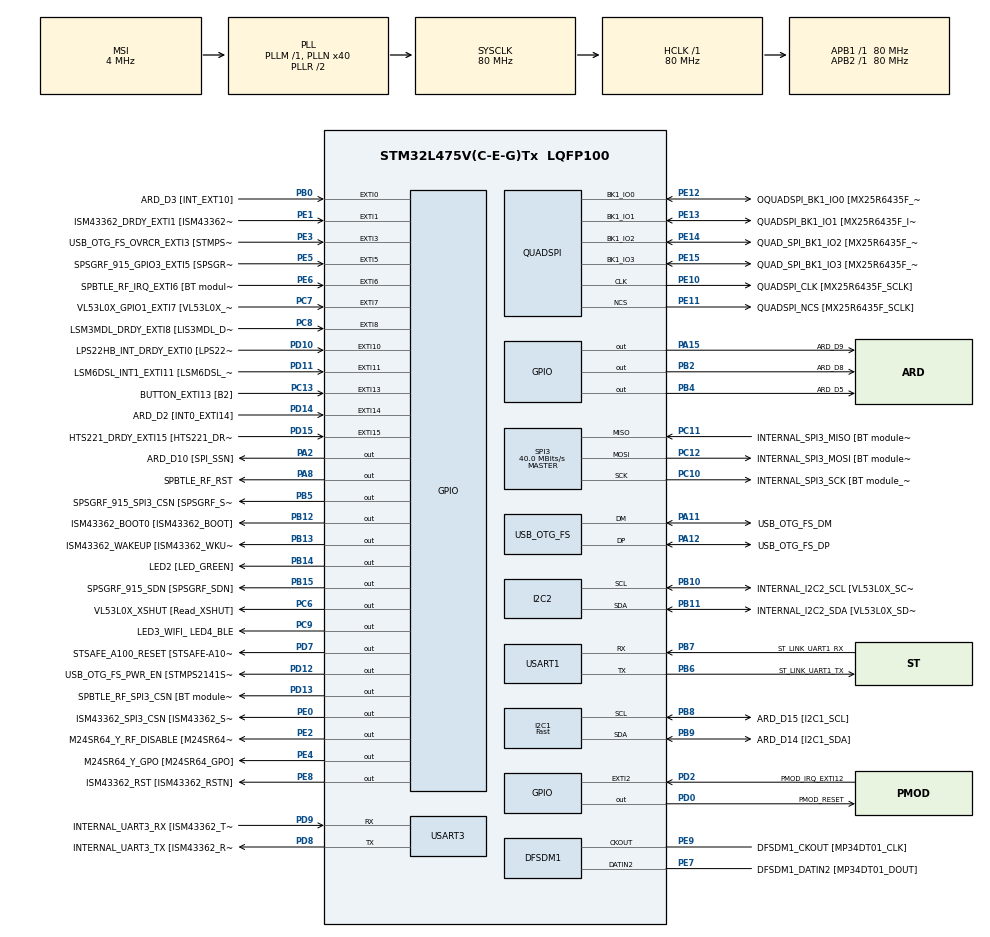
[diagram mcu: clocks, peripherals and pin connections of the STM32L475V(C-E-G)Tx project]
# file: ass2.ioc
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I2C1.CustomTiming=Enabled
I2C1.I2C_Speed_Mode=I2C_Fast
I2C1.Timing=0x00F12981
I2C2.Timing=0x10D19CE4
Mcu.Family=STM32L4
Mcu.Name=STM32L475V(C-E-G)Tx
Mcu.Package=LQFP100
NVIC.EXTI15_10_IRQn=true\:0\:0\:false\:false\:true\:true\:true\:true
NVIC.EXTI9_5_IRQn=true\:0\:0\:false\:false\:true\:true\:true\:true
NVIC.PriorityGroup=NVIC_PRIORITYGROUP_4
PA0.GPIO_Label=ARD_D1 [UART4_TX]
PA0.Signal=UART4_TX
PA1.GPIO_Label=ARD_D0 [UART4_RX]
PA1.Signal=UART4_RX
PA10.GPIO_Label=USB_OTG_FS_ID
PA10.Signal=USB_OTG_FS_ID
PA11.GPIO_Label=USB_OTG_FS_DM
PA11.Mode=Device_Only
PA11.Signal=USB_OTG_FS_DM
PA12.GPIO_Label=USB_OTG_FS_DP
PA12.Mode=Device_Only
PA12.Signal=USB_OTG_FS_DP
PA13\ (JTMS-SWDIO).GPIO_Label=SYS_JTMS_SWDIO
PA13\ (JTMS-SWDIO).Mode=Serial_Wire
PA13\ (JTMS-SWDIO).Signal=SYS_JTMS-SWDIO
PA14\ (JTCK-SWCLK).GPIO_Label=SYS_JTCK_SWCLK
PA14\ (JTCK-SWCLK).Mode=Serial_Wire
PA14\ (JTCK-SWCLK).Signal=SYS_JTCK-SWCLK
PA15\ (JTDI).GPIO_Label=ARD_D9
PA15\ (JTDI).Signal=GPIO_Output
PA2.GPIO_Label=ARD_D10 [SPI_SSN]
PA2.Signal=GPIO_Output
PA3.GPIO_Label=ARD_D4
PA3.Signal=S_TIM2_CH4
PA4.GPIO_Label=ARD_D7
PA4.Signal=ADCx_IN9
PA5.GPIO_Label=ARD_D13 [SPI1_SCK]
PA5.Signal=SPI1_SCK
PA6.GPIO_Label=ARD_D12 [SPI1_MISO]
PA6.Signal=SPI1_MISO
PA7.GPIO_Label=ARD_D11 [SPI1_MOSI]
PA7.Signal=SPI1_MOSI
PA8.GPIO_Label=SPBTLE_RF_RST
PA8.Signal=GPIO_Output
PA9.GPIO_Label=USB_OTG_FS_VBUS [STMPS2141STR_OUT]
PA9.Signal=USB_OTG_FS_VBUS
PB0.GPIO_Label=ARD_D3 [INT_EXT10]
PB0.Signal=GPXTI0
PB1.GPIO_Label=ARD_D6 [ADC1_IN6]
PB1.Signal=ADCx_IN16
PB10.GPIO_Label=INTERNAL_I2C2_SCL [VL53L0X_SCL]
PB10.GPIO_Pu=GPIO_PULLUP
PB10.Mode=I2C
PB10.Signal=I2C2_SCL
PB11.GPIO_Label=INTERNAL_I2C2_SDA [VL53L0X_SDA]
PB11.GPIO_Pu=GPIO_PULLUP
PB11.Mode=I2C
PB11.Signal=I2C2_SDA
PB12.GPIO_Label=ISM43362_BOOT0 [ISM43362_BOOT]
PB12.Signal=GPIO_Output
PB13.GPIO_Label=ISM43362_WAKEUP [ISM43362_WKUP]
PB13.Signal=GPIO_Output
PB14.GPIO_Label=LED2 [LED_GREEN]
PB14.Signal=GPIO_Output
PB15.GPIO_Label=SPSGRF_915_SDN [SPSGRF_SDN]
PB15.Signal=GPIO_Output
PB2.GPIO_Label=ARD_D8
PB2.Signal=GPIO_Output
PB3\ (JTDO-TRACESWO).GPIO_Label=SYS_JTD0_SWO
PB3\ (JTDO-TRACESWO).Signal=SYS_JTDO-SWO
PB4\ (NJTRST).GPIO_Label=ARD_D5
PB4\ (NJTRST).Signal=GPIO_Output
PB5.GPIO_Label=SPSGRF_915_SPI3_CSN [SPSGRF_SPI_CS]
PB5.PinState=GPIO_PIN_SET
PB5.Signal=GPIO_Output
PB6.GPIO_Label=ST_LINK_UART1_TX
PB6.Mode=Asynchronous
PB6.Signal=USART1_TX
PB7.GPIO_Label=ST_LINK_UART1_RX
PB7.Mode=Asynchronous
PB7.Signal=USART1_RX
PB8.GPIO_Label=ARD_D15 [I2C1_SCL]
PB8.Mode=I2C
PB8.Signal=I2C1_SCL
PB9.GPIO_Label=ARD_D14 [I2C1_SDA]
PB9.Mode=I2C
PB9.Signal=I2C1_SDA
PC0.GPIO_Label=ARD_A5 [ADC]
PC0.Signal=ADCx_IN1
PC1.GPIO_Label=ARD_A4 [ADC]
PC1.Signal=ADCx_IN2
PC10.GPIO_Label=INTERNAL_SPI3_SCK [BT module_SPI_SCLK] [ISM43362_SCK]
PC10.Mode=Full_Duplex_Master
PC10.Signal=SPI3_SCK
PC11.GPIO_Label=INTERNAL_SPI3_MISO [BT module_SPI_MISO] [ISM43362_MISO]
PC11.Mode=Full_Duplex_Master
PC11.Signal=SPI3_MISO
PC12.GPIO_Label=INTERNAL_SPI3_MOSI [BT module_SPI_MOSI] [ISM43362_MOSI]
PC12.Mode=Full_Duplex_Master
PC12.Signal=SPI3_MOSI
PC13.GPIO_Label=BUTTON_EXTI13 [B2]
PC13.GPIO_ModeDefaultEXTI=GPIO_MODE_IT_FALLING
PC13.Signal=GPXTI13
PC14-OSC32_IN\ (PC14).Mode=LSE-External-Oscillator
PC14-OSC32_IN\ (PC14).Signal=RCC_OSC32_IN
PC15-OSC32_OUT\ (PC15).Mode=LSE-External-Oscillator
PC15-OSC32_OUT\ (PC15).Signal=RCC_OSC32_OUT
PC2.GPIO_Label=ARD_A3 [ADC]
PC2.Signal=ADCx_IN3
PC3.GPIO_Label=ARD_A2 [ADC]
PC3.Signal=ADCx_IN4
PC4.GPIO_Label=ARD_A1 [ADC]
PC4.Signal=ADCx_IN13
PC5.GPIO_Label=ARD_A0 [ADC]
PC5.Signal=ADCx_IN14
PC6.GPIO_Label=VL53L0X_XSHUT [Read_XSHUT]
PC6.Signal=GPIO_Output
PC7.GPIO_Label=VL53L0X_GPIO1_EXTI7 [VL53L0X_GPIO1]
PC7.Signal=GPXTI7
PC8.GPIO_Label=LSM3MDL_DRDY_EXTI8 [LIS3MDL_DRDY]
PC8.Signal=GPXTI8
PC9.GPIO_Label=LED3_WIFI_ LED4_BLE
PC9.Signal=GPIO_Output
PD0.GPIO_Label=PMOD_RESET
PD0.Signal=GPIO_Output
PD1.GPIO_Label=PMOD_SPI2_SCK
PD1.Signal=SPI2_SCK
PD10.GPIO_Label=LPS22HB_INT_DRDY_EXTI0 [LPS22HB_INT_DRDY] 
PD10.Signal=GPXTI10
PD11.GPIO_Label=LSM6DSL_INT1_EXTI11 [LSM6DSL_INT1]
PD11.Signal=GPXTI11
PD12.GPIO_Label=USB_OTG_FS_PWR_EN [STMPS2141STR_EN]
PD12.Signal=GPIO_Output
PD13.GPIO_Label=SPBTLE_RF_SPI3_CSN [BT module_SPI_CS]
PD13.PinState=GPIO_PIN_SET
PD13.Signal=GPIO_Output
PD14.GPIO_Label=ARD_D2 [INT0_EXTI14]
PD14.Signal=GPXTI14
PD15.GPIO_Label=HTS221_DRDY_EXTI15 [HTS221_DRDY]
PD15.Signal=GPXTI15
PD2.GPIO_Label=PMOD_IRQ_EXTI12
PD2.Signal=GPXTI2
PD3.GPIO_Label=PMOD_UART2_CTS
PD3.Signal=USART2_CTS
PD4.GPIO_Label=PMOD_UART2_RTS
PD4.Signal=USART2_RTS
PD5.GPIO_Label=PMOD_UART2_TX
PD5.Signal=USART2_TX
PD6.GPIO_Label=PMOD_UART2_RX
PD6.Signal=USART2_RX
PD7.GPIO_Label=STSAFE_A100_RESET [STSAFE-A100_RESET]
PD7.Signal=GPIO_Output
PD8.GPIO_Label=INTERNAL_UART3_TX [ISM43362_RX]
PD8.Mode=Asynchronous
PD8.Signal=USART3_TX
PD9.GPIO_Label=INTERNAL_UART3_RX [ISM43362_TX]
PD9.Mode=Asynchronous
PD9.Signal=USART3_RX
PE0.GPIO_Label=ISM43362_SPI3_CSN [ISM43362_SSN]
PE0.PinState=GPIO_PIN_SET
PE0.Signal=GPIO_Output
PE1.GPIO_Label=ISM43362_DRDY_EXTI1 [ISM43362_DATARDY]
PE1.Signal=GPXTI1
PE10.GPIO_Label=QUADSPI_CLK [MX25R6435F_SCLK]
PE10.Mode=Single Bank
PE10.Signal=QUADSPI_CLK
PE11.GPIO_Label=QUADSPI_NCS [MX25R6435F_SCLK]
PE11.Mode=Single Bank
PE11.Signal=QUADSPI_NCS
PE12.GPIO_Label=OQUADSPI_BK1_IO0 [MX25R6435F_IO0]
PE12.Mode=Single Bank
PE12.Signal=QUADSPI_BK1_IO0
PE13.GPIO_Label=QUADSPI_BK1_IO1 [MX25R6435F_IO1]
PE13.Mode=Single Bank
PE13.Signal=QUADSPI_BK1_IO1
PE14.GPIO_Label=QUAD_SPI_BK1_IO2 [MX25R6435F_IO2]
PE14.Mode=Single Bank
PE14.Signal=QUADSPI_BK1_IO2
PE15.GPIO_Label=QUAD_SPI_BK1_IO3 [MX25R6435F_IO3]
PE15.Mode=Single Bank
PE15.Signal=QUADSPI_BK1_IO3
PE2.GPIO_Label=M24SR64_Y_RF_DISABLE [M24SR64_RFDIS]
PE2.Signal=GPIO_Output
PE3.GPIO_Label=USB_OTG_FS_OVRCR_EXTI3 [STMPS2141STR_FAULT]
PE3.Signal=GPXTI3
PE4.GPIO_Label=M24SR64_Y_GPO [M24SR64_GPO]
PE4.Signal=GPIO_Output
PE5.GPIO_Label=SPSGRF_915_GPIO3_EXTI5 [SPSGRF_GPIO_3]
PE5.Signal=GPXTI5
PE6.GPIO_Label=SPBTLE_RF_IRQ_EXTI6 [BT module_SPI_IRQ]
PE6.Signal=GPXTI6
PE7.GPIO_Label=DFSDM1_DATIN2 [MP34DT01_DOUT]
PE7.Signal=S_DATAIN2DFSDM1
PE8.GPIO_Label=ISM43362_RST [ISM43362_RSTN]
PE8.Signal=GPIO_Output
PE9.GPIO_Label=DFSDM1_CKOUT [MP34DT01_CLK]
PE9.Signal=S_CKOUTDFSDM1
ProjectManager.HeapSize=0x200
ProjectManager.StackSize=0x400
ProjectManager.TargetToolchain=STM32CubeIDE
QUADSPI.ClockPrescaler=2
QUADSPI.FifoThreshold=4
QUADSPI.FlashSize=23
QUADSPI.SampleShifting=QSPI_SAMPLE_SHIFTING_HALFCYCLE
RCC.ADCFreq_Value=48000000
RCC.AHBFreq_Value=80000000
RCC.APB1Freq_Value=80000000
RCC.APB1TimFreq_Value=80000000
RCC.APB2Freq_Value=80000000
RCC.APB2TimFreq_Value=80000000
RCC.CortexFreq_Value=80000000
RCC.HCLKFreq_Value=80000000
RCC.HSE_VALUE=8000000
RCC.HSI_VALUE=16000000
RCC.MSI_VALUE=4000000
RCC.PLLN=40
RCC.PLLSAI1N=24
RCC.SYSCLKFreq_VALUE=80000000
RCC.SYSCLKSource=RCC_SYSCLKSOURCE_PLLCLK
RCC.USBFreq_Value=48000000
RCC.VCOOutputFreq_Value=160000000
SH.ADCx_IN1.0=ADC1_IN1
SH.ADCx_IN13.0=ADC1_IN13
SH.ADCx_IN14.0=ADC1_IN14
SH.ADCx_IN16.0=ADC1_IN16
SH.ADCx_IN2.0=ADC1_IN2
SH.ADCx_IN3.0=ADC1_IN3
SH.ADCx_IN4.0=ADC1_IN4
SH.ADCx_IN9.0=ADC1_IN9
SH.S_CKOUTDFSDM1.0=DFSDM1_CKOUT,CKOUT
SH.S_CKOUTDFSDM1.1=DFSDM1_CKOUT,PDM_SPI_Input_from_ch12_and_Internal_Clock
SH.S_DATAIN2DFSDM1.0=DFSDM1_DATIN2,PDM_SPI_Input_from_ch12_and_Internal_Clock
SH.S_TIM2_CH4.0=TIM2_CH4
SPI3.CalculateBaudRate=40.0 MBits/s
SPI3.Direction=SPI_DIRECTION_2LINES
SPI3.Mode=SPI_MODE_MASTER
SPI3.VirtualType=VM_MASTER
USART1.VirtualMode-Asynchronous=VM_ASYNC
USART3.VirtualMode-Asynchronous=VM_ASYNC
USB_OTG_FS.VirtualMode=Device_Only
board=B-L475E-IOT01A1

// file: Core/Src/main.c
/* USER CODE BEGIN Header */
/**
  ******************************************************************************
  * @file           : main.c
  * @brief          : Main program body
  ******************************************************************************
  * @attention
  *
  * Copyright (c) 2025 STMicroelectronics.
  * All rights reserved.
  *
  * This software is licensed under terms that can be found in the LICENSE file
  * in the root directory of this software component.
  * If no LICENSE file comes with this software, it is provided AS-IS.
  *
  ******************************************************************************
  */
/* USER CODE END Header */
#include "main.h"
#include "wifi.h"
#include "stdio.h"
#include <string.h>
#include <math.h>
#include "stm32l4xx_hal_gpio.h"
#include "stm32l4xx_hal_exti.h"
#include "../../Drivers/BSP/B-L475E-IOT01/stm32l475e_iot01.h"
#include "../../Drivers/BSP/B-L475E-IOT01/stm32l475e_iot01_tsensor.h"
#include "../../Drivers/BSP/B-L475E-IOT01/stm32l475e_iot01_hsensor.h"
#include "../../Drivers/BSP/B-L475E-IOT01/stm32l475e_iot01_psensor.h"
#include "../../Drivers/BSP/B-L475E-IOT01/stm32l475e_iot01_gyro.h"
#include "../../Drivers/BSP/B-L475E-IOT01/stm32l475e_iot01_magneto.h"
#include "../../Drivers/BSP/B-L475E-IOT01/stm32l475e_iot01_accelero.h"
/* USER CODE BEGIN Includes */
#include "ssd1306.h"
#include "ssd1306_tests.h"
/* USER CODE END Includes */

/* USER CODE BEGIN PD */
extern void initialise_monitor_handles(void); // for printf semi-hosting support

#define MAX_LENGTH 1024
#define WIFI_READ_TIMEOUT 10000
#define WIFI_WRITE_TIMEOUT 10000

const char* WiFi_SSID = "waao"; // Replace with your WiFi SSID
const char* WiFi_password = "12345678"; // Replace with your WiFi password
const WIFI_Ecn_t WiFi_security = WIFI_ECN_WPA2_PSK;
const uint16_t SOURCE_PORT = 1234;
uint8_t ipaddr[4] = {192, 168, 43, 1};

const char* SERVER_NAME = "api.seniverse.com";
const uint16_t DEST_PORT = 80;

SPI_HandleTypeDef hspi3;

#define TOTAL_BUFFER_SIZE 2048
uint8_t totalResp[TOTAL_BUFFER_SIZE];
uint16_t totalLen = 0;
uint8_t tempBuffer[256]; // 每次接收的临时缓冲区
uint16_t len;
WIFI_Status_t ret;
/* USER CODE END PD */

DFSDM_Channel_HandleTypeDef hdfsdm1_channel1;

I2C_HandleTypeDef hi2c1;
I2C_HandleTypeDef hi2c2;

QSPI_HandleTypeDef hqspi;

SPI_HandleTypeDef hspi3;

UART_HandleTypeDef huart1;
UART_HandleTypeDef huart3;

PCD_HandleTypeDef hpcd_USB_OTG_FS;

void SystemClock_Config(void);
static void MX_GPIO_Init(void);
static void MX_DFSDM1_Init(void);
static void MX_I2C2_Init(void);
static void MX_QUADSPI_Init(void);
static void MX_SPI3_Init(void);
static void MX_USART1_UART_Init(void);
static void MX_USART3_UART_Init(void);
static void MX_USB_OTG_FS_PCD_Init(void);
static void MX_I2C1_Init(void);

/* USER CODE BEGIN 0 */
static void UART1_Init(void);
UART_HandleTypeDef huart1;
/* USER CODE END 0 */
#define TEMP_THRESHOLD 37.5f
#define ACC_THRESHOLD 9.0f
#define GYRO_THRESHOLD 5.0f
#define MAG_THRESHOLD 3000000.0f
float baseline_gyro_norm = 0.0f;
float baseline_mag_norm = 0.0f;

volatile uint8_t emergency_mode = 0;
volatile uint8_t fever_detected = 0, fall_detected = 0, abnormal_detected = 0, mag_detected = 0;
volatile uint32_t last_emergency = 0;
volatile uint32_t last_led_toggle = 0;
volatile uint32_t last_button_press = 0;
volatile uint8_t count_button = 0;

int main(void)
{

  /* USER CODE BEGIN 1 */
  initialise_monitor_handles();
  /* USER CODE END 1 */

  /* MCU Configuration--------------------------------------------------------*/

  /* Reset of all peripherals, Initializes the Flash interface and the Systick. */
  HAL_Init();
  UART1_Init();
  int seconds_count = 0;

  /* Configure the system clock */
  SystemClock_Config();

  /* Initialize all configured peripherals */
  MX_GPIO_Init();
  MX_DFSDM1_Init();
  MX_I2C2_Init();
  MX_QUADSPI_Init();
  MX_SPI3_Init();

  MX_USART1_UART_Init();
  MX_USART3_UART_Init();
  MX_USB_OTG_FS_PCD_Init();
  MX_I2C1_Init();
  /* USER CODE BEGIN 2 */
  ssd1306_Init();
  /* USER CODE END 2 */

  BSP_LED_Init(LED2);

     BSP_TSENSOR_Init();
     BSP_ACCELERO_Init();
     BSP_GYRO_Init();
     BSP_MAGNETO_Init();
     BSP_HSENSOR_Init();
     BSP_PSENSOR_Init();
     //PC13用来EXTI interrupt
     __HAL_RCC_GPIOC_CLK_ENABLE();
     GPIO_InitTypeDef GPIO_InitStruct = {0};
     GPIO_InitStruct.Pin = GPIO_PIN_13;
     GPIO_InitStruct.Mode = GPIO_MODE_IT_FALLING;
     GPIO_InitStruct.Pull = GPIO_NOPULL;
     HAL_GPIO_Init(GPIOC, &GPIO_InitStruct);
     HAL_NVIC_SetPriority(EXTI15_10_IRQn, 0, 0);
     //设置EXTI interrupt优先级，只要按下按钮就会触发HAL_GPIO_EXTI_Callback()
     HAL_NVIC_EnableIRQ(EXTI15_10_IRQn);
     //PB14控制LED2输出
     __HAL_RCC_GPIOB_CLK_ENABLE();
     GPIO_InitStruct.Pin = GPIO_PIN_14;
     GPIO_InitStruct.Mode = GPIO_MODE_OUTPUT_PP;
     GPIO_InitStruct.Pull = GPIO_NOPULL;
     GPIO_InitStruct.Speed = GPIO_SPEED_FREQ_VERY_HIGH;
     HAL_GPIO_Init(GPIOB, &GPIO_InitStruct);

     __HAL_RCC_GPIOD_CLK_ENABLE();
     GPIO_InitStruct.Pin = GPIO_PIN_11;
     GPIO_InitStruct.Mode = GPIO_MODE_IT_RISING;
     GPIO_InitStruct.Pull = GPIO_NOPULL;
     HAL_GPIO_Init(GPIOD, &GPIO_InitStruct);
     __HAL_GPIO_EXTI_CLEAR_IT(GPIO_PIN_11);
     HAL_NVIC_SetPriority(EXTI15_10_IRQn, 2, 0);  // EXTI for pins 10 to 15
     HAL_NVIC_EnableIRQ(EXTI15_10_IRQn);

     uint32_t previousTick = HAL_GetTick();
     uint32_t previousWReq = HAL_GetTick();
     static uint16_t counter=0;

     SENSOR_IO_Write(0xD4, 0x10, 0x20);
     SENSOR_IO_Write(0xD4, 0x19, 0x0C);
     SENSOR_IO_Write(0xD4, 0x5E, 0x02);
     SENSOR_IO_Write(0xD4, 0x58, 0x01);

     uint8_t md1_cfg;
  	 uint8_t func_src1;
     md1_cfg = SENSOR_IO_Read(0xD4, 0x5E);
     printf("MD1_CFG = 0x%02X\n", md1_cfg);

       char uartBuffer[256];
       char city[32];
       char temperature[8];
       char weather[32];
       char last_update[64];
       char time[6];

       uint8_t req[MAX_LENGTH];
       //uint8_t resp[MAX_LENGTH];
       uint16_t Datalen;

       WIFI_Status_t WiFi_Stat;
           uint32_t retryStart;

           while (1) {
               WiFi_Stat = WIFI_Init();
               HAL_UART_Transmit(&huart1, (uint8_t*)"Initializing WiFi...\r\n",
                                 strlen("Initializing WiFi...\r\n"), HAL_MAX_DELAY);

               if (WiFi_Stat == WIFI_STATUS_OK) break;

               HAL_UART_Transmit(&huart1, (uint8_t*)"WiFi Init Failed. Retrying...\r\n",
                                 strlen("WiFi Init Failed. Retrying...\r\n"), HAL_MAX_DELAY);

               // 记录当前时间
               retryStart = HAL_GetTick();
               while (HAL_GetTick() - retryStart < 2000);
           }

           while (1) {
               WiFi_Stat = WIFI_Connect(WiFi_SSID, WiFi_password, WiFi_security);
               if (WiFi_Stat == WIFI_STATUS_OK) break;

               HAL_UART_Transmit(&huart1, (uint8_t*)"WiFi Connect Failed. Retrying...\r\n",
                                 strlen("WiFi Connect Failed. Retrying...\r\n"), HAL_MAX_DELAY);

               retryStart = HAL_GetTick();
               while (HAL_GetTick() - retryStart < 2000);
           }

           HAL_UART_Transmit(&huart1, (uint8_t*)"Connected to WiFi. Resolving host...\r\n",
                             strlen("Connected to WiFi. Resolving host...\r\n"), HAL_MAX_DELAY);

           while (1) {
               WiFi_Stat = WIFI_GetHostAddress(SERVER_NAME, ipaddr);
               if (WiFi_Stat == WIFI_STATUS_OK) break;

               HAL_UART_Transmit(&huart1, (uint8_t*)"Host Resolve Failed. Retrying...\r\n",
                                 strlen("Host Resolve Failed. Retrying...\r\n"), HAL_MAX_DELAY);

               retryStart = HAL_GetTick();
               while (HAL_GetTick() - retryStart < 2000);
           }

           while (1) {
               WiFi_Stat = WIFI_OpenClientConnection(1, WIFI_TCP_PROTOCOL, "conn", ipaddr, DEST_PORT, SOURCE_PORT);
               if (WiFi_Stat == WIFI_STATUS_OK) break;

               HAL_UART_Transmit(&huart1, (uint8_t*)"Open Connection Failed. Retrying...\r\n",
                                 strlen("Open Connection Failed. Retrying...\r\n"), HAL_MAX_DELAY);

               retryStart = HAL_GetTick();
               while (HAL_GetTick() - retryStart < 2000);
           }

           HAL_UART_Transmit(&huart1, (uint8_t*)"WiFi Connected Successfully!\r\n",
                             strlen("WiFi Connected Successfully!\r\n"), HAL_MAX_DELAY);

           char rxBuffer[80];
           uint8_t rxChar;
           uint16_t index = 0;
           memset(rxBuffer, 0, 80);
           HAL_UART_Transmit(&huart1, (uint8_t*)"Key in city\r\n",
                                        strlen("Key in city\r\n"), HAL_MAX_DELAY);

           while (1) {
           HAL_UART_Receive(&huart1, &rxChar, 1, HAL_MAX_DELAY);
           if (rxChar == '\r' || rxChar == '\n')
           {
               HAL_UART_Transmit(&huart1, (uint8_t *)"Received: ", 6, HAL_MAX_DELAY);
               HAL_UART_Transmit(&huart1, rxBuffer, strlen((char *)rxBuffer), HAL_MAX_DELAY);
               HAL_UART_Transmit(&huart1, (uint8_t *)"\r\n", 2, HAL_MAX_DELAY);
               break;
           }
           if (index < 79)
           {
        	   rxBuffer[index++] = rxChar;
           }
           }
           rxBuffer[index] = '\0';

		   const char* reqUserKey = "STEK6421IRBVnzBZ_";
		   const char* reqLocation = rxBuffer;

		   printf("city: %s\n", reqLocation);

		   const char* reqUnit = "c";

		   char reqWeather[256];
		   sprintf(reqWeather, "/v3/weather/now.json?key=%s&location=%s&language=en&unit=%s",
				   reqUserKey, reqLocation, reqUnit);

		   sprintf((char*)req, "GET %s HTTP/1.1\r\nHost: %s\r\nConnection: close\r\n\r\n",
				   reqWeather, SERVER_NAME);
		   HAL_UART_Transmit(&huart1, (uint8_t*)"Initialization Complete!\r\n Requesting...\r\n",
		                     strlen("Initialization Complete!\r\n Requesting...\r\n"), HAL_MAX_DELAY);

		   WiFi_Stat = WIFI_SendData(1, req, (uint16_t)strlen((char*)req), &Datalen, WIFI_WRITE_TIMEOUT);

		   while ((ret = WIFI_ReceiveData(1, tempBuffer, sizeof(tempBuffer) - 1, &len, WIFI_READ_TIMEOUT)) == WIFI_STATUS_OK && len > 0) {
			   if (totalLen + len >= TOTAL_BUFFER_SIZE - 1) {
				   HAL_UART_Transmit(&huart1, (uint8_t*)"Buffer too small",
				   		                     strlen("Buffer too small"), HAL_MAX_DELAY);
				   break;
			   }
			   memcpy(totalResp + totalLen, tempBuffer, len);
			   totalLen += len;
		   }

		   totalResp[totalLen] = '\0';

		   extract_value(totalResp, "name", city, sizeof(city));
		   extract_value(totalResp, "temperature", temperature, sizeof(temperature));
		   extract_value(totalResp, "text", weather, sizeof(weather));
		   extract_value(totalResp, "last_update", last_update, sizeof(last_update));
		   strncpy(time, last_update + 11, 5);
		   time[5] = '\0';

/////////////////////////////////////////////////////////////////////////////////////////////////////////////////////
		   printf("%s",totalResp);
		          printf("city: %s\n", city);
		          printf("temperature: %s°C\n", temperature);
		          printf("weather: %s\n", weather);
/////////////////////////////////////////////////////////////////////////////////////////////////////////////////////

		   snprintf(uartBuffer, sizeof(uartBuffer),
					"City: %s\r\nTemperature: %s°C\r\nWeather: %s\r\nTime: %s\r\n",
					city, temperature, weather, time);
		   HAL_UART_Transmit(&huart1, (uint8_t*)uartBuffer, strlen(uartBuffer), HAL_MAX_DELAY);

		   HAL_UART_Transmit(&huart1, (uint8_t*)"Entering Standard Mode.\r\n", 26, HAL_MAX_DELAY);

     while (1) {
     	uint32_t now = HAL_GetTick();
     	uint32_t W_now = HAL_GetTick();
      	func_src1 = SENSOR_IO_Read(0xD4, 0x53);
      	//printf("tti = 0x%02X\n", func_src1);

         if (emergency_mode == 0) {
        	 ssd1306_WeatherDisp (city, temperature, weather, time);
             if (now - previousTick >= 1000) {
                 previousTick = now;
                 //用SysTick interrupt每秒对sensors进行一次data记录
                 BSP_LED_Off(LED2);

                 float temp = BSP_TSENSOR_ReadTemp();
                 float humidity = BSP_HSENSOR_ReadHumidity();
                 float pressure = BSP_PSENSOR_ReadPressure();

                 float acc[3];
                 int16_t acc_i16[3]={0};
                 BSP_ACCELERO_AccGetXYZ(acc_i16);
                 acc[0]=acc_i16[0]*9.8f/1000.0f;
                 acc[1]=acc_i16[1]*9.8f/1000.0f;
                 acc[2]=acc_i16[2]*9.8f/1000.0f;
                 float gyro[3]={0};
                 BSP_GYRO_GetXYZ(gyro);
                 gyro[0]=(float)gyro[0]/1000.0f;
                 gyro[1]=(float)gyro[1]/1000.0f;
                 gyro[2]=(float)gyro[2]/1000.0f;
                 float mag[3];
                 int16_t mag_i16[3]={0};
                 BSP_MAGNETO_GetXYZ(mag_i16);
                 mag[0]=mag_i16[0]*1000.0f;
                 mag[1]=mag_i16[1]*1000.0f;
                 mag[2]=mag_i16[2]*1000.0f;

                 static uint8_t baseline_captured = 0;
                 if (!baseline_captured) {
                     baseline_gyro_norm = sqrtf(gyro[0]*gyro[0] + gyro[1]*gyro[1] + gyro[2]*gyro[2]);
                     baseline_mag_norm  = sqrtf(mag[0]*mag[0] + mag[1]*mag[1] + mag[2]*mag[2]);
                     baseline_captured = 1;
                 }//只会记录一次板子静止时的 gyro norm

                 char line1[256], line2[256], line3[256];
                 snprintf(line1,sizeof(line1),
                 		"%03d TEMP_%.2f ACC_%.2f_%.2f_%.2f\r\n",
                 		counter,temp,acc[0]/9.8f,acc[1]/9.8f,acc[2]/9.8f);
                 //题目要求把m/s^2转化成g
                 snprintf(line2, sizeof(line2),
                 		"%03d GYRO_%.2f_%.2f_%.2f MAGNETO_%.2f_%.2f_%.2f\r\n",
                         counter, gyro[0],gyro[1],gyro[2], mag[0], mag[1], mag[2]);
                 snprintf(line3, sizeof(line3),
                         "%03d HUMIDITY_%.2f BARO_%.2f\r\n",
                         counter, humidity, pressure);

                 HAL_UART_Transmit(&huart1, (uint8_t*)line1, strlen(line1), HAL_MAX_DELAY);
                 HAL_UART_Transmit(&huart1, (uint8_t*)line2, strlen(line2), HAL_MAX_DELAY);
                 HAL_UART_Transmit(&huart1, (uint8_t*)line3, strlen(line3), HAL_MAX_DELAY);
                 counter++;
             }
             if (W_now - previousWReq >= 100*1000) {
            	 previousWReq = W_now;
            	 WiFi_Stat = WIFI_SendData(1, req, (uint16_t)strlen((char*)req), &Datalen, WIFI_WRITE_TIMEOUT);

            	 		   while ((ret = WIFI_ReceiveData(1, tempBuffer, sizeof(tempBuffer) - 1, &len, WIFI_READ_TIMEOUT)) == WIFI_STATUS_OK && len > 0) {
            	 			   if (totalLen + len >= TOTAL_BUFFER_SIZE - 1) {
            	 				   HAL_UART_Transmit(&huart1, (uint8_t*)"Buffer too small",
            	 				   		                     strlen("Buffer too small"), HAL_MAX_DELAY);
            	 				   break;
            	 			   }
            	 			   memcpy(totalResp + totalLen, tempBuffer, len);
            	 			   totalLen += len;
            	 		   }

            	 		   totalResp[totalLen] = '\0';

            	 		   extract_value(totalResp, "name", city, sizeof(city));
            	 		   extract_value(totalResp, "temperature", temperature, sizeof(temperature));
            	 		   extract_value(totalResp, "text", weather, sizeof(weather));
            	 		   extract_value(totalResp, "last_update", last_update, sizeof(last_update));
            	 		   strncpy(time, last_update + 11, 5);
            	 		   time[5] = '\0';

            	 		  snprintf(uartBuffer, sizeof(uartBuffer),
            	 		  					"City: %s\r\nTemperature: %s°C\r\nWeather: %s\r\nTime: %s\r\n",
            	 		  					city, temperature, weather, time);
            	 		  HAL_UART_Transmit(&huart1, (uint8_t*)uartBuffer, strlen(uartBuffer), HAL_MAX_DELAY);
             }
         }else {

        	 ssd1306_Alarm();
        	 func_src1 = SENSOR_IO_Read(0xD4, 0x53);
             float temp = BSP_TSENSOR_ReadTemp();
             float acc[3];
             int16_t acc_i16[3]={0};
             BSP_ACCELERO_AccGetXYZ(acc_i16);
             acc[0]=acc_i16[0]*9.8f/1000.0f;
             acc[1]=acc_i16[1]*9.8f/1000.0f;
             acc[2]=acc_i16[2]*9.8f/1000.0f;
             float gyro[3]={0};
             BSP_GYRO_GetXYZ(gyro);
             gyro[0]=(float)gyro[0]/1000.0f;
             gyro[1]=(float)gyro[1]/1000.0f;
             gyro[2]=(float)gyro[2]/1000.0f;
             float mag[3];
             int16_t mag_i16[3]={0};
             BSP_MAGNETO_GetXYZ(mag_i16);
             mag[0]=mag_i16[0]*1000.0f;
             mag[1]=mag_i16[1]*1000.0f;
             mag[2]=mag_i16[2]*1000.0f;

             float gyro_norm=0.0f;
             gyro_norm=sqrt(pow(gyro[0],2)+pow(gyro[1],2)+pow(gyro[2],2));
             float mag_norm=0.0f;
             mag_norm=sqrt(pow(mag[0],2)+pow(mag[1],2)+pow(mag[2],2));

             fever_detected = (temp > TEMP_THRESHOLD);
             //比37.5高就发烧了
             fall_detected = fabsf(acc[2]) < ACC_THRESHOLD;
             //比较在z方向的重力加速度来判断是否摔倒
             abnormal_detected =fabsf(gyro_norm - baseline_gyro_norm) > GYRO_THRESHOLD;
             //比较水平静止时的gyro norm和现在的值的偏差是否大于5dps
             mag_detected = fabsf(mag_norm-baseline_mag_norm) > MAG_THRESHOLD;

             uint32_t blink_interval=1000;
             if (fever_detected){
             	blink_interval=333;//如果fever了是3Hz亮LED
             } else if (fall_detected||abnormal_detected||mag_detected){
             	blink_interval=500;//别的毛病2Hz亮LED
             }

             if (now - last_led_toggle >= blink_interval) {
                 last_led_toggle = now;
                 HAL_GPIO_TogglePin(GPIOB, GPIO_PIN_14);
             }
             //all sensors data 5s传一次
             if (now - last_emergency >= 5000) {
                 last_emergency = now;

                 if (fever_detected)
                     HAL_UART_Transmit(&huart1, (uint8_t*)"Fever detected!\r\n", 18, HAL_MAX_DELAY);
                 if (fall_detected)
                     HAL_UART_Transmit(&huart1, (uint8_t*)"Fall detected!\r\n", 17, HAL_MAX_DELAY);
                 if (abnormal_detected)
                     HAL_UART_Transmit(&huart1, (uint8_t*)"Abnormal movement detected!\r\n", 30, HAL_MAX_DELAY);
                 if (mag_detected)
                     HAL_UART_Transmit(&huart1, (uint8_t*)"Posture anomaly detected!\r\n", 28, HAL_MAX_DELAY);

                 char status[100];
                 snprintf(status, sizeof(status), "TEMP=%.2f ACC_Z=%.2f GYRO=%.2f MAG=%.2f\r\n",
                         temp, acc[2], gyro[0], mag[0]);
                 HAL_UART_Transmit(&huart1, (uint8_t*)status, strlen(status), HAL_MAX_DELAY);

             if (fever_detected||fall_detected||abnormal_detected||mag_detected){
            	 ssd1306_Fill(White);
            	 ssd1306_Scroll();
             }
             }
         }
     }

}

void extract_value(const char* json, const char* key, char* dest, size_t dest_size) {
    char searchKey[32];
    sprintf(searchKey, "\"%s\":\"", key);
    char* ptr = strstr(json, searchKey);
    if(ptr) {
        ptr += strlen(searchKey);
        char* end = strchr(ptr, '\"');
        if(end) {
            size_t len = end - ptr;
            if(len >= dest_size)
                len = dest_size - 1;
            strncpy(dest, ptr, len);
            dest[len] = '\0';
        } else {
            dest[0] = '\0';
        }
    } else {
        dest[0] = '\0';
    }
}

void HAL_GPIO_EXTI_Callback(uint16_t GPIO_Pin)
{
    if (GPIO_Pin == GPIO_PIN_1) {
        SPI_WIFI_ISR();
    }
        if (GPIO_Pin == BUTTON_EXTI13_Pin) {//如果elderly按了button则进入EXTI interrupt
            uint32_t now = HAL_GetTick();
            if (!emergency_mode) {//如果在标准模式
                if (now - last_button_press < 1000) {//判断是否在一秒内双击
                    count_button++;
                    if (count_button >= 2) {//如果是的话就进入到emergency mode
                        emergency_mode = 1;
                        count_button = 0;
                        HAL_UART_Transmit(&huart1, (uint8_t*)"Entering Emergency Mode.\r\n", 27, HAL_MAX_DELAY);
                    }
                } else {
                    count_button = 1;//在标准模式但没能1秒内完成两次双击
                }
                last_button_press = now;
            } else {
                emergency_mode = 0;//如果不在标准模式，则从emergency回到标准模式
                HAL_GPIO_WritePin(GPIOB, GPIO_PIN_14, GPIO_PIN_RESET);//且关掉LED2，因为要回standard mode了
                HAL_UART_Transmit(&huart1, (uint8_t*)"Returning to Standard Mode.\r\n", 29, HAL_MAX_DELAY);
            }
        }
        if (GPIO_Pin == GPIO_PIN_11)
        {
          //printf("falllllllll\n");
          HAL_UART_Transmit(&huart1, (uint8_t*)"Tilt detected.\r\n", 29, HAL_MAX_DELAY);
        }
}

void SPI3_IRQHandler(void)
{
    HAL_SPI_IRQHandler(&hspi3);
}

void SystemClock_Config(void)
{
  RCC_OscInitTypeDef RCC_OscInitStruct = {0};
  RCC_ClkInitTypeDef RCC_ClkInitStruct = {0};

  /** Configure the main internal regulator output voltage
  */
  if (HAL_PWREx_ControlVoltageScaling(PWR_REGULATOR_VOLTAGE_SCALE1) != HAL_OK)
  {
    Error_Handler();
  }

  /** Configure LSE Drive Capability
  */
  HAL_PWR_EnableBkUpAccess();
  __HAL_RCC_LSEDRIVE_CONFIG(RCC_LSEDRIVE_LOW);

  /** Initializes the RCC Oscillators according to the specified parameters
  * in the RCC_OscInitTypeDef structure.
  */
  RCC_OscInitStruct.OscillatorType = RCC_OSCILLATORTYPE_LSE|RCC_OSCILLATORTYPE_MSI;
  RCC_OscInitStruct.LSEState = RCC_LSE_ON;
  RCC_OscInitStruct.MSIState = RCC_MSI_ON;
  RCC_OscInitStruct.MSICalibrationValue = 0;
  RCC_OscInitStruct.MSIClockRange = RCC_MSIRANGE_6;
  RCC_OscInitStruct.PLL.PLLState = RCC_PLL_ON;
  RCC_OscInitStruct.PLL.PLLSource = RCC_PLLSOURCE_MSI;
  RCC_OscInitStruct.PLL.PLLM = 1;
  RCC_OscInitStruct.PLL.PLLN = 40;
  RCC_OscInitStruct.PLL.PLLP = RCC_PLLP_DIV7;
  RCC_OscInitStruct.PLL.PLLQ = RCC_PLLQ_DIV2;
  RCC_OscInitStruct.PLL.PLLR = RCC_PLLR_DIV2;
  if (HAL_RCC_OscConfig(&RCC_OscInitStruct) != HAL_OK)
  {
    Error_Handler();
  }

  /** Initializes the CPU, AHB and APB buses clocks
  */
  RCC_ClkInitStruct.ClockType = RCC_CLOCKTYPE_HCLK|RCC_CLOCKTYPE_SYSCLK
                              |RCC_CLOCKTYPE_PCLK1|RCC_CLOCKTYPE_PCLK2;
  RCC_ClkInitStruct.SYSCLKSource = RCC_SYSCLKSOURCE_PLLCLK;
  RCC_ClkInitStruct.AHBCLKDivider = RCC_SYSCLK_DIV1;
  RCC_ClkInitStruct.APB1CLKDivider = RCC_HCLK_DIV1;
  RCC_ClkInitStruct.APB2CLKDivider = RCC_HCLK_DIV1;

  if (HAL_RCC_ClockConfig(&RCC_ClkInitStruct, FLASH_LATENCY_4) != HAL_OK)
  {
    Error_Handler();
  }

  /** Enable MSI Auto calibration
  */
  HAL_RCCEx_EnableMSIPLLMode();
}

static void MX_DFSDM1_Init(void)
{

  hdfsdm1_channel1.Instance = DFSDM1_Channel1;
  hdfsdm1_channel1.Init.OutputClock.Activation = ENABLE;
  hdfsdm1_channel1.Init.OutputClock.Selection = DFSDM_CHANNEL_OUTPUT_CLOCK_SYSTEM;
  hdfsdm1_channel1.Init.OutputClock.Divider = 2;
  hdfsdm1_channel1.Init.Input.Multiplexer = DFSDM_CHANNEL_EXTERNAL_INPUTS;
  hdfsdm1_channel1.Init.Input.DataPacking = DFSDM_CHANNEL_STANDARD_MODE;
  hdfsdm1_channel1.Init.Input.Pins = DFSDM_CHANNEL_FOLLOWING_CHANNEL_PINS;
  hdfsdm1_channel1.Init.SerialInterface.Type = DFSDM_CHANNEL_SPI_RISING;
  hdfsdm1_channel1.Init.SerialInterface.SpiClock = DFSDM_CHANNEL_SPI_CLOCK_INTERNAL;
  hdfsdm1_channel1.Init.Awd.FilterOrder = DFSDM_CHANNEL_FASTSINC_ORDER;
  hdfsdm1_channel1.Init.Awd.Oversampling = 1;
  hdfsdm1_channel1.Init.Offset = 0;
  hdfsdm1_channel1.Init.RightBitShift = 0x00;
  if (HAL_DFSDM_ChannelInit(&hdfsdm1_channel1) != HAL_OK)
  {
    Error_Handler();
  }

}

static void MX_I2C1_Init(void)
{

  hi2c1.Instance = I2C1;
  hi2c1.Init.Timing = 0x00F12981;
  hi2c1.Init.OwnAddress1 = 0;
  hi2c1.Init.AddressingMode = I2C_ADDRESSINGMODE_7BIT;
  hi2c1.Init.DualAddressMode = I2C_DUALADDRESS_DISABLE;
  hi2c1.Init.OwnAddress2 = 0;
  hi2c1.Init.OwnAddress2Masks = I2C_OA2_NOMASK;
  hi2c1.Init.GeneralCallMode = I2C_GENERALCALL_DISABLE;
  hi2c1.Init.NoStretchMode = I2C_NOSTRETCH_DISABLE;
  if (HAL_I2C_Init(&hi2c1) != HAL_OK)
  {
    Error_Handler();
  }

  /** Configure Analogue filter
  */
  if (HAL_I2CEx_ConfigAnalogFilter(&hi2c1, I2C_ANALOGFILTER_ENABLE) != HAL_OK)
  {
    Error_Handler();
  }

  /** Configure Digital filter
  */
  if (HAL_I2CEx_ConfigDigitalFilter(&hi2c1, 0) != HAL_OK)
  {
    Error_Handler();
  }

}

static void MX_I2C2_Init(void)
{

  hi2c2.Instance = I2C2;
  hi2c2.Init.Timing = 0x10D19CE4;
  hi2c2.Init.OwnAddress1 = 0;
  hi2c2.Init.AddressingMode = I2C_ADDRESSINGMODE_7BIT;
  hi2c2.Init.DualAddressMode = I2C_DUALADDRESS_DISABLE;
  hi2c2.Init.OwnAddress2 = 0;
  hi2c2.Init.OwnAddress2Masks = I2C_OA2_NOMASK;
  hi2c2.Init.GeneralCallMode = I2C_GENERALCALL_DISABLE;
  hi2c2.Init.NoStretchMode = I2C_NOSTRETCH_DISABLE;
  if (HAL_I2C_Init(&hi2c2) != HAL_OK)
  {
    Error_Handler();
  }

  /** Configure Analogue filter
  */
  if (HAL_I2CEx_ConfigAnalogFilter(&hi2c2, I2C_ANALOGFILTER_ENABLE) != HAL_OK)
  {
    Error_Handler();
  }

  /** Configure Digital filter
  */
  if (HAL_I2CEx_ConfigDigitalFilter(&hi2c2, 0) != HAL_OK)
  {
    Error_Handler();
  }

}

static void MX_QUADSPI_Init(void)
{

  /* QUADSPI parameter configuration*/
  hqspi.Instance = QUADSPI;
  hqspi.Init.ClockPrescaler = 2;
  hqspi.Init.FifoThreshold = 4;
  hqspi.Init.SampleShifting = QSPI_SAMPLE_SHIFTING_HALFCYCLE;
  hqspi.Init.FlashSize = 23;
  hqspi.Init.ChipSelectHighTime = QSPI_CS_HIGH_TIME_1_CYCLE;
  hqspi.Init.ClockMode = QSPI_CLOCK_MODE_0;
  if (HAL_QSPI_Init(&hqspi) != HAL_OK)
  {
    Error_Handler();
  }

}

static void MX_SPI3_Init(void)
{

  /* SPI3 parameter configuration*/
  hspi3.Instance = SPI3;
  hspi3.Init.Mode = SPI_MODE_MASTER;
  hspi3.Init.Direction = SPI_DIRECTION_2LINES;
  hspi3.Init.DataSize = SPI_DATASIZE_4BIT;
  hspi3.Init.CLKPolarity = SPI_POLARITY_LOW;
  hspi3.Init.CLKPhase = SPI_PHASE_1EDGE;
  hspi3.Init.NSS = SPI_NSS_SOFT;
  hspi3.Init.BaudRatePrescaler = SPI_BAUDRATEPRESCALER_2;
  hspi3.Init.FirstBit = SPI_FIRSTBIT_MSB;
  hspi3.Init.TIMode = SPI_TIMODE_DISABLE;
  hspi3.Init.CRCCalculation = SPI_CRCCALCULATION_DISABLE;
  hspi3.Init.CRCPolynomial = 7;
  hspi3.Init.CRCLength = SPI_CRC_LENGTH_DATASIZE;
  hspi3.Init.NSSPMode = SPI_NSS_PULSE_ENABLE;
  if (HAL_SPI_Init(&hspi3) != HAL_OK)
  {
    Error_Handler();
  }

}

static void MX_USART1_UART_Init(void)
{

  huart1.Instance = USART1;
  huart1.Init.BaudRate = 115200;
  huart1.Init.WordLength = UART_WORDLENGTH_8B;
  huart1.Init.StopBits = UART_STOPBITS_1;
  huart1.Init.Parity = UART_PARITY_NONE;
  huart1.Init.Mode = UART_MODE_TX_RX;
  huart1.Init.HwFlowCtl = UART_HWCONTROL_NONE;
  huart1.Init.OverSampling = UART_OVERSAMPLING_16;
  huart1.Init.OneBitSampling = UART_ONE_BIT_SAMPLE_DISABLE;
  huart1.AdvancedInit.AdvFeatureInit = UART_ADVFEATURE_NO_INIT;
  if (HAL_UART_Init(&huart1) != HAL_OK)
  {
    Error_Handler();
  }

}

static void MX_USART3_UART_Init(void)
{

  huart3.Instance = USART3;
  huart3.Init.BaudRate = 115200;
  huart3.Init.WordLength = UART_WORDLENGTH_8B;
  huart3.Init.StopBits = UART_STOPBITS_1;
  huart3.Init.Parity = UART_PARITY_NONE;
  huart3.Init.Mode = UART_MODE_TX_RX;
  huart3.Init.HwFlowCtl = UART_HWCONTROL_NONE;
  huart3.Init.OverSampling = UART_OVERSAMPLING_16;
  huart3.Init.OneBitSampling = UART_ONE_BIT_SAMPLE_DISABLE;
  huart3.AdvancedInit.AdvFeatureInit = UART_ADVFEATURE_NO_INIT;
  if (HAL_UART_Init(&huart3) != HAL_OK)
  {
    Error_Handler();
  }

}

static void MX_USB_OTG_FS_PCD_Init(void)
{

  hpcd_USB_OTG_FS.Instance = USB_OTG_FS;
  hpcd_USB_OTG_FS.Init.dev_endpoints = 6;
  hpcd_USB_OTG_FS.Init.speed = PCD_SPEED_FULL;
  hpcd_USB_OTG_FS.Init.phy_itface = PCD_PHY_EMBEDDED;
  hpcd_USB_OTG_FS.Init.Sof_enable = DISABLE;
  hpcd_USB_OTG_FS.Init.low_power_enable = DISABLE;
  hpcd_USB_OTG_FS.Init.lpm_enable = DISABLE;
  hpcd_USB_OTG_FS.Init.battery_charging_enable = DISABLE;
  hpcd_USB_OTG_FS.Init.use_dedicated_ep1 = DISABLE;
  hpcd_USB_OTG_FS.Init.vbus_sensing_enable = DISABLE;
  if (HAL_PCD_Init(&hpcd_USB_OTG_FS) != HAL_OK)
  {
    Error_Handler();
  }

}

static void MX_GPIO_Init(void)
{
  GPIO_InitTypeDef GPIO_InitStruct = {0};

  /* GPIO Ports Clock Enable */
  __HAL_RCC_GPIOE_CLK_ENABLE();
  __HAL_RCC_GPIOC_CLK_ENABLE();
  __HAL_RCC_GPIOA_CLK_ENABLE();
  __HAL_RCC_GPIOB_CLK_ENABLE();
  __HAL_RCC_GPIOD_CLK_ENABLE();

  /*Configure GPIO pin Output Level */
  HAL_GPIO_WritePin(GPIOE, M24SR64_Y_RF_DISABLE_Pin|M24SR64_Y_GPO_Pin|ISM43362_RST_Pin, GPIO_PIN_RESET);

  /*Configure GPIO pin Output Level */
  HAL_GPIO_WritePin(GPIOA, ARD_D10_Pin|SPBTLE_RF_RST_Pin|ARD_D9_Pin, GPIO_PIN_RESET);

  /*Configure GPIO pin Output Level */
  HAL_GPIO_WritePin(GPIOB, ARD_D8_Pin|ISM43362_BOOT0_Pin|ISM43362_WAKEUP_Pin|LED2_Pin
                          |SPSGRF_915_SDN_Pin|ARD_D5_Pin, GPIO_PIN_RESET);

  /*Configure GPIO pin Output Level */
  HAL_GPIO_WritePin(GPIOD, USB_OTG_FS_PWR_EN_Pin|PMOD_RESET_Pin|STSAFE_A100_RESET_Pin, GPIO_PIN_RESET);

  /*Configure GPIO pin Output Level */
  HAL_GPIO_WritePin(SPBTLE_RF_SPI3_CSN_GPIO_Port, SPBTLE_RF_SPI3_CSN_Pin, GPIO_PIN_SET);

  /*Configure GPIO pin Output Level */
  HAL_GPIO_WritePin(GPIOC, VL53L0X_XSHUT_Pin|LED3_WIFI__LED4_BLE_Pin, GPIO_PIN_RESET);

  /*Configure GPIO pin Output Level */
  HAL_GPIO_WritePin(SPSGRF_915_SPI3_CSN_GPIO_Port, SPSGRF_915_SPI3_CSN_Pin, GPIO_PIN_SET);

  /*Configure GPIO pin Output Level */
  HAL_GPIO_WritePin(ISM43362_SPI3_CSN_GPIO_Port, ISM43362_SPI3_CSN_Pin, GPIO_PIN_SET);

  /*Configure GPIO pins : M24SR64_Y_RF_DISABLE_Pin M24SR64_Y_GPO_Pin ISM43362_RST_Pin ISM43362_SPI3_CSN_Pin */
  GPIO_InitStruct.Pin = M24SR64_Y_RF_DISABLE_Pin|M24SR64_Y_GPO_Pin|ISM43362_RST_Pin|ISM43362_SPI3_CSN_Pin;
  GPIO_InitStruct.Mode = GPIO_MODE_OUTPUT_PP;
  GPIO_InitStruct.Pull = GPIO_NOPULL;
  GPIO_InitStruct.Speed = GPIO_SPEED_FREQ_LOW;
  HAL_GPIO_Init(GPIOE, &GPIO_InitStruct);

  /*Configure GPIO pins : USB_OTG_FS_OVRCR_EXTI3_Pin SPSGRF_915_GPIO3_EXTI5_Pin SPBTLE_RF_IRQ_EXTI6_Pin ISM43362_DRDY_EXTI1_Pin */
  GPIO_InitStruct.Pin = USB_OTG_FS_OVRCR_EXTI3_Pin|SPSGRF_915_GPIO3_EXTI5_Pin|SPBTLE_RF_IRQ_EXTI6_Pin|ISM43362_DRDY_EXTI1_Pin;
  GPIO_InitStruct.Mode = GPIO_MODE_IT_RISING;
  GPIO_InitStruct.Pull = GPIO_NOPULL;
  HAL_GPIO_Init(GPIOE, &GPIO_InitStruct);

  /*Configure GPIO pin : BUTTON_EXTI13_Pin */
  GPIO_InitStruct.Pin = BUTTON_EXTI13_Pin;
  GPIO_InitStruct.Mode = GPIO_MODE_IT_FALLING;
  GPIO_InitStruct.Pull = GPIO_NOPULL;
  HAL_GPIO_Init(BUTTON_EXTI13_GPIO_Port, &GPIO_InitStruct);

  /*Configure GPIO pins : ARD_A5_Pin ARD_A4_Pin ARD_A3_Pin ARD_A2_Pin
                           ARD_A1_Pin ARD_A0_Pin */
  GPIO_InitStruct.Pin = ARD_A5_Pin|ARD_A4_Pin|ARD_A3_Pin|ARD_A2_Pin
                          |ARD_A1_Pin|ARD_A0_Pin;
  GPIO_InitStruct.Mode = GPIO_MODE_ANALOG_ADC_CONTROL;
  GPIO_InitStruct.Pull = GPIO_NOPULL;
  HAL_GPIO_Init(GPIOC, &GPIO_InitStruct);

  /*Configure GPIO pins : ARD_D1_Pin ARD_D0_Pin */
  GPIO_InitStruct.Pin = ARD_D1_Pin|ARD_D0_Pin;
  GPIO_InitStruct.Mode = GPIO_MODE_AF_PP;
  GPIO_InitStruct.Pull = GPIO_NOPULL;
  GPIO_InitStruct.Speed = GPIO_SPEED_FREQ_VERY_HIGH;
  GPIO_InitStruct.Alternate = GPIO_AF8_UART4;
  HAL_GPIO_Init(GPIOA, &GPIO_InitStruct);

  /*Configure GPIO pins : ARD_D10_Pin SPBTLE_RF_RST_Pin ARD_D9_Pin */
  GPIO_InitStruct.Pin = ARD_D10_Pin|SPBTLE_RF_RST_Pin|ARD_D9_Pin;
  GPIO_InitStruct.Mode = GPIO_MODE_OUTPUT_PP;
  GPIO_InitStruct.Pull = GPIO_NOPULL;
  GPIO_InitStruct.Speed = GPIO_SPEED_FREQ_LOW;
  HAL_GPIO_Init(GPIOA, &GPIO_InitStruct);

  /*Configure GPIO pin : ARD_D4_Pin */
  GPIO_InitStruct.Pin = ARD_D4_Pin;
  GPIO_InitStruct.Mode = GPIO_MODE_AF_PP;
  GPIO_InitStruct.Pull = GPIO_NOPULL;
  GPIO_InitStruct.Speed = GPIO_SPEED_FREQ_LOW;
  GPIO_InitStruct.Alternate = GPIO_AF1_TIM2;
  HAL_GPIO_Init(ARD_D4_GPIO_Port, &GPIO_InitStruct);

  /*Configure GPIO pin : ARD_D7_Pin */
  GPIO_InitStruct.Pin = ARD_D7_Pin;
  GPIO_InitStruct.Mode = GPIO_MODE_ANALOG_ADC_CONTROL;
  GPIO_InitStruct.Pull = GPIO_NOPULL;
  HAL_GPIO_Init(ARD_D7_GPIO_Port, &GPIO_InitStruct);

  /*Configure GPIO pins : ARD_D13_Pin ARD_D12_Pin ARD_D11_Pin */
  GPIO_InitStruct.Pin = ARD_D13_Pin|ARD_D12_Pin|ARD_D11_Pin;
  GPIO_InitStruct.Mode = GPIO_MODE_AF_PP;
  GPIO_InitStruct.Pull = GPIO_NOPULL;
  GPIO_InitStruct.Speed = GPIO_SPEED_FREQ_VERY_HIGH;
  GPIO_InitStruct.Alternate = GPIO_AF5_SPI1;
  HAL_GPIO_Init(GPIOA, &GPIO_InitStruct);

  /*Configure GPIO pin : ARD_D3_Pin */
  GPIO_InitStruct.Pin = ARD_D3_Pin;
  GPIO_InitStruct.Mode = GPIO_MODE_IT_RISING;
  GPIO_InitStruct.Pull = GPIO_NOPULL;
  HAL_GPIO_Init(ARD_D3_GPIO_Port, &GPIO_InitStruct);

  /*Configure GPIO pin : ARD_D6_Pin */
  GPIO_InitStruct.Pin = ARD_D6_Pin;
  GPIO_InitStruct.Mode = GPIO_MODE_ANALOG_ADC_CONTROL;
  GPIO_InitStruct.Pull = GPIO_NOPULL;
  HAL_GPIO_Init(ARD_D6_GPIO_Port, &GPIO_InitStruct);

  /*Configure GPIO pins : ARD_D8_Pin ISM43362_BOOT0_Pin ISM43362_WAKEUP_Pin LED2_Pin
                           SPSGRF_915_SDN_Pin ARD_D5_Pin SPSGRF_915_SPI3_CSN_Pin */
  GPIO_InitStruct.Pin = ARD_D8_Pin|ISM43362_BOOT0_Pin|ISM43362_WAKEUP_Pin|LED2_Pin
                          |SPSGRF_915_SDN_Pin|ARD_D5_Pin|SPSGRF_915_SPI3_CSN_Pin;
  GPIO_InitStruct.Mode = GPIO_MODE_OUTPUT_PP;
  GPIO_InitStruct.Pull = GPIO_NOPULL;
  GPIO_InitStruct.Speed = GPIO_SPEED_FREQ_LOW;
  HAL_GPIO_Init(GPIOB, &GPIO_InitStruct);

  /*Configure GPIO pins : LPS22HB_INT_DRDY_EXTI0_Pin LSM6DSL_INT1_EXTI11_Pin ARD_D2_Pin HTS221_DRDY_EXTI15_Pin
                           PMOD_IRQ_EXTI12_Pin */
  GPIO_InitStruct.Pin = LPS22HB_INT_DRDY_EXTI0_Pin|LSM6DSL_INT1_EXTI11_Pin|ARD_D2_Pin|HTS221_DRDY_EXTI15_Pin
                          |PMOD_IRQ_EXTI12_Pin;
  GPIO_InitStruct.Mode = GPIO_MODE_IT_RISING;
  GPIO_InitStruct.Pull = GPIO_NOPULL;
  HAL_GPIO_Init(GPIOD, &GPIO_InitStruct);

  /*Configure GPIO pins : USB_OTG_FS_PWR_EN_Pin SPBTLE_RF_SPI3_CSN_Pin PMOD_RESET_Pin STSAFE_A100_RESET_Pin */
  GPIO_InitStruct.Pin = USB_OTG_FS_PWR_EN_Pin|SPBTLE_RF_SPI3_CSN_Pin|PMOD_RESET_Pin|STSAFE_A100_RESET_Pin;
  GPIO_InitStruct.Mode = GPIO_MODE_OUTPUT_PP;
  GPIO_InitStruct.Pull = GPIO_NOPULL;
  GPIO_InitStruct.Speed = GPIO_SPEED_FREQ_LOW;
  HAL_GPIO_Init(GPIOD, &GPIO_InitStruct);

  /*Configure GPIO pins : VL53L0X_XSHUT_Pin LED3_WIFI__LED4_BLE_Pin */
  GPIO_InitStruct.Pin = VL53L0X_XSHUT_Pin|LED3_WIFI__LED4_BLE_Pin;
  GPIO_InitStruct.Mode = GPIO_MODE_OUTPUT_PP;
  GPIO_InitStruct.Pull = GPIO_NOPULL;
  GPIO_InitStruct.Speed = GPIO_SPEED_FREQ_LOW;
  HAL_GPIO_Init(GPIOC, &GPIO_InitStruct);

  /*Configure GPIO pins : VL53L0X_GPIO1_EXTI7_Pin LSM3MDL_DRDY_EXTI8_Pin */
  GPIO_InitStruct.Pin = VL53L0X_GPIO1_EXTI7_Pin|LSM3MDL_DRDY_EXTI8_Pin;
  GPIO_InitStruct.Mode = GPIO_MODE_IT_RISING;
  GPIO_InitStruct.Pull = GPIO_NOPULL;
  HAL_GPIO_Init(GPIOC, &GPIO_InitStruct);

  /*Configure GPIO pin : PMOD_SPI2_SCK_Pin */
  GPIO_InitStruct.Pin = PMOD_SPI2_SCK_Pin;
  GPIO_InitStruct.Mode = GPIO_MODE_AF_PP;
  GPIO_InitStruct.Pull = GPIO_NOPULL;
  GPIO_InitStruct.Speed = GPIO_SPEED_FREQ_VERY_HIGH;
  GPIO_InitStruct.Alternate = GPIO_AF5_SPI2;
  HAL_GPIO_Init(PMOD_SPI2_SCK_GPIO_Port, &GPIO_InitStruct);

  /*Configure GPIO pins : PMOD_UART2_CTS_Pin PMOD_UART2_RTS_Pin PMOD_UART2_TX_Pin PMOD_UART2_RX_Pin */
  GPIO_InitStruct.Pin = PMOD_UART2_CTS_Pin|PMOD_UART2_RTS_Pin|PMOD_UART2_TX_Pin|PMOD_UART2_RX_Pin;
  GPIO_InitStruct.Mode = GPIO_MODE_AF_PP;
  GPIO_InitStruct.Pull = GPIO_NOPULL;
  GPIO_InitStruct.Speed = GPIO_SPEED_FREQ_VERY_HIGH;
  GPIO_InitStruct.Alternate = GPIO_AF7_USART2;
  HAL_GPIO_Init(GPIOD, &GPIO_InitStruct);

  /* EXTI interrupt init*/
  HAL_NVIC_SetPriority(EXTI9_5_IRQn, 0, 0);
  HAL_NVIC_EnableIRQ(EXTI9_5_IRQn);

  HAL_NVIC_SetPriority(EXTI15_10_IRQn, 0, 0);
  HAL_NVIC_EnableIRQ(EXTI15_10_IRQn);

}

/* USER CODE BEGIN 4 */
static void UART1_Init(void)
{
/* Pin configuration for UART. BSP_COM_Init() can do this automatically
*/
__HAL_RCC_GPIOB_CLK_ENABLE();
GPIO_InitTypeDef GPIO_InitStruct = {0};
GPIO_InitStruct.Alternate = GPIO_AF7_USART1;
GPIO_InitStruct.Pin = GPIO_PIN_7|GPIO_PIN_6;
GPIO_InitStruct.Mode = GPIO_MODE_AF_PP;
GPIO_InitStruct.Pull = GPIO_NOPULL;
GPIO_InitStruct.Speed = GPIO_SPEED_FREQ_VERY_HIGH;
HAL_GPIO_Init(GPIOB, &GPIO_InitStruct);
/* Configuring UART1 */
huart1.Instance = USART1;
huart1.Init.BaudRate = 115200;
huart1.Init.WordLength = UART_WORDLENGTH_8B;
huart1.Init.StopBits = UART_STOPBITS_1;
huart1.Init.Parity = UART_PARITY_NONE;
huart1.Init.Mode = UART_MODE_TX_RX;
huart1.Init.HwFlowCtl = UART_HWCONTROL_NONE;
huart1.Init.OverSampling = UART_OVERSAMPLING_16;
huart1.Init.OneBitSampling = UART_ONE_BIT_SAMPLE_DISABLE;
huart1.AdvancedInit.AdvFeatureInit = UART_ADVFEATURE_NO_INIT;
if (HAL_UART_Init(&huart1) != HAL_OK)
{
while(1);
}
}
/* USER CODE END 4 */

void Error_Handler(void)
{
  __disable_irq();
  while (1)
  {
  }
}
